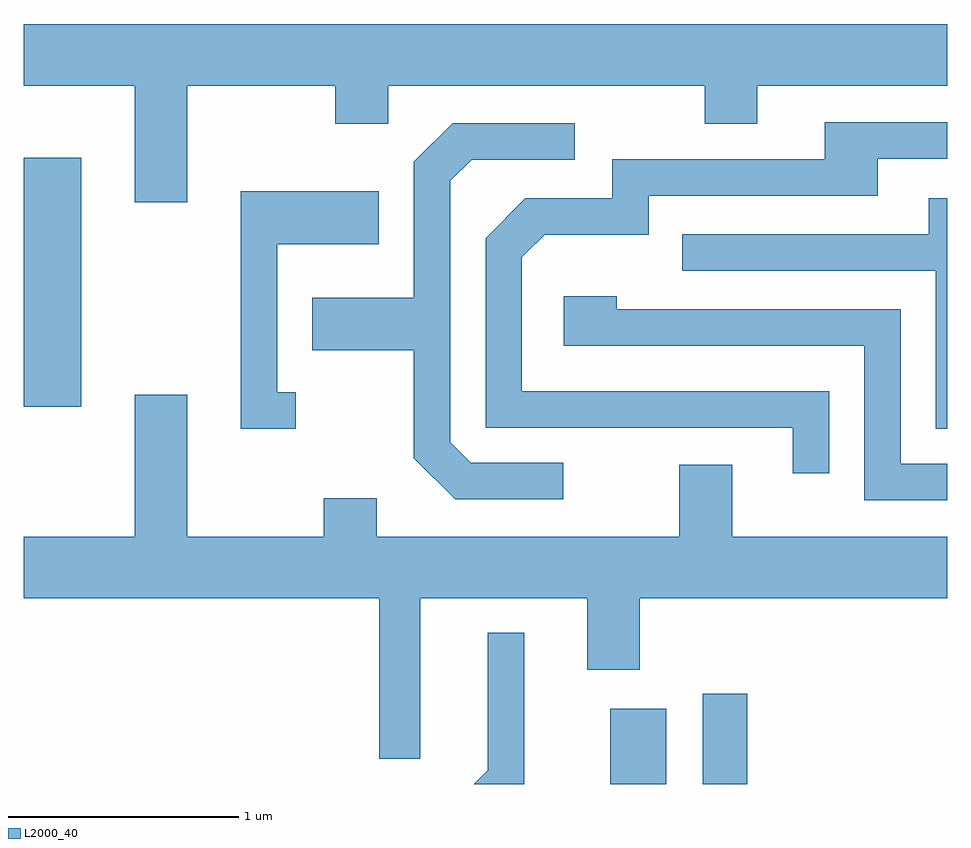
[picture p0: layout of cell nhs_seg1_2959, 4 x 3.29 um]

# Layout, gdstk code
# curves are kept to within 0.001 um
import gdstk
lib = gdstk.Library(unit=1e-6, precision=1e-09)
def R(c, l, rs):  # rectangles x0, y0, x1, y1
    for r in rs: c.add(gdstk.rectangle(r[:2], r[2:], *l))
def P(c, l, *ps):  # polygons
    for p in ps: c.add(gdstk.Polygon(p, *l))
L2000_40 = (2000, 40)

nhs_seg1_2959 = lib.new_cell('nhs_seg1_2959')
R(nhs_seg1_2959, L2000_40, [(278.151,847.712,278.394,848.039), (278.551,847.712,278.744,848.104), (275.611,849.346,275.859,850.424)])
P(nhs_seg1_2959, L2000_40, [(276.319,850.736),(276.961,850.736),(276.961,850.571),(277.189,850.571),(277.189,850.736),(278.561,850.736),(278.561,850.571),(278.789,850.571),(278.789,850.736),(279.611,850.736),(279.611,851.004),(275.611,851.004),(275.611,850.736),(276.091,850.736),(276.091,850.231),(276.319,850.231)],
  [(279.099,849.414),(277.769,849.414),(277.769,849.994),(277.867,850.091),(278.319,850.091),(278.319,850.261),(279.309,850.261),(279.309,850.421),(279.611,850.421),(279.611,850.579),(279.081,850.579),(279.081,850.419),(278.161,850.419),(278.161,850.249),(277.784,850.249),(277.611,850.077),(277.611,849.256),(278.941,849.256),(278.941,849.058),(279.099,849.058)],
  [(277.948,849.104),(277.547,849.104),(277.459,849.192),(277.459,850.324),(277.552,850.416),(277.998,850.416),(277.998,850.574),(277.469,850.574),(277.301,850.407),(277.301,849.819),(276.861,849.819),(276.861,849.591),(277.301,849.591),(277.301,849.124),(277.479,848.946),(277.948,848.946)],
  [(276.788,849.409),(276.709,849.409),(276.709,850.051),(277.149,850.051),(277.149,850.279),(276.551,850.279),(276.551,849.251),(276.788,849.251)],
  [(279.611,850.249),(279.531,850.249),(279.531,850.094),(278.463,850.094),(278.463,849.936),(279.561,849.936),(279.561,849.251),(279.611,849.251)],
  [(279.611,849.099),(279.409,849.099),(279.409,849.769),(278.179,849.769),(278.179,849.824),(277.951,849.824),(277.951,849.611),(279.251,849.611),(279.251,848.941),(279.611,848.941)],
  [(277.329,848.516),(278.051,848.516),(278.051,848.206),(278.279,848.206),(278.279,848.516),(279.611,848.516),(279.611,848.784),(278.679,848.784),(278.679,849.094),(278.451,849.094),(278.451,848.784),(277.139,848.784),(277.139,848.949),(276.911,848.949),(276.911,848.784),(276.319,848.784),(276.319,849.399),(276.091,849.399),(276.091,848.784),(275.611,848.784),(275.611,848.516),(277.151,848.516),(277.151,847.821),(277.329,847.821)],
  [(277.779,848.368),(277.621,848.368),(277.621,847.772),(277.561,847.712),(277.779,847.712)])

lib.write_gds('nhs_seg1_2959.gds')
